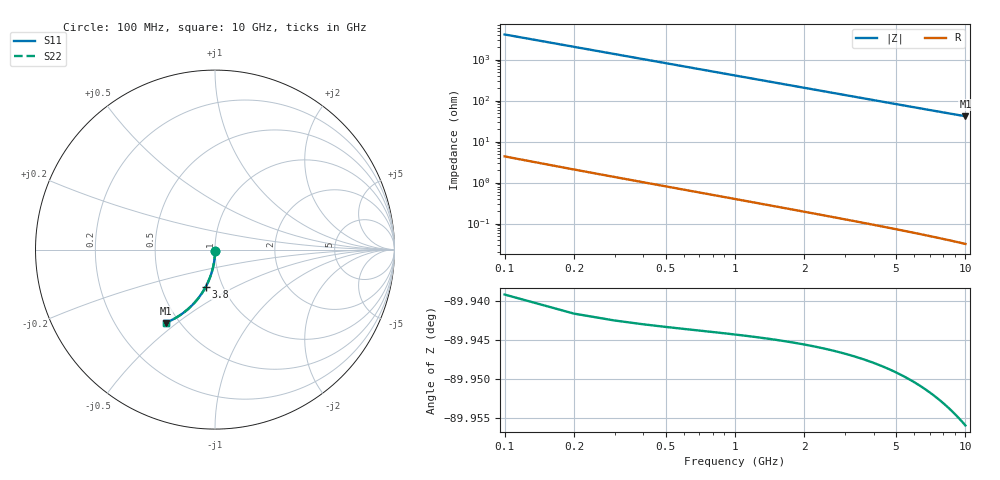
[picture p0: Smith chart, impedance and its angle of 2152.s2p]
# Hz S RI R 50.00
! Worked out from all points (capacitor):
!   100 points, 100 MHz to 10 GHz, reference 50 ohm
!   read as one part in shunt: C = 390 fF near 100 MHz
!   lowest |Z| = 41.4 ohm at 10 GHz (marker M1)
!   S11 on the Smith chart (normalised r, x): 100 MHz: 1.00, -0.01; 3.8 GHz: 0.83, -0.36; 10 GHz: 0.42, -0.46
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1e8  0.000362 -0.00574  0.9996 -0.00651  0.9996 -0.00651  0.000362 -0.00574
2e8  0.000247 -0.0115  0.9994 -0.013  0.9994 -0.013  0.000247 -0.0115
3e8  5.59e-05 -0.0172  0.9992 -0.0195  0.9992 -0.0195  5.59e-05 -0.0172
4e8  -0.00021 -0.0229  0.999 -0.026  0.999 -0.026  -0.00021 -0.0229
5e8  -0.00055 -0.0287  0.9986 -0.0325  0.9986 -0.0325  -0.00055 -0.0287
6e8  -0.000965 -0.0344  0.9982 -0.039  0.9982 -0.039  -0.000965 -0.0344
7e8  -0.00145 -0.0401  0.9977 -0.0455  0.9977 -0.0455  -0.00145 -0.0401
8e8  -0.00202 -0.0458  0.9971 -0.052  0.9971 -0.052  -0.00202 -0.0458
9e8  -0.00265 -0.0515  0.9965 -0.0584  0.9965 -0.0584  -0.00265 -0.0515
1.1e9  -0.00415 -0.0628  0.995 -0.0713  0.995 -0.0713  -0.00415 -0.0628
1.4e9  -0.00693 -0.0797  0.9922 -0.0905  0.9922 -0.0905  -0.00693 -0.0797
1.8e9  -0.0116 -0.102  0.9874 -0.1159  0.9874 -0.1159  -0.0116 -0.102
2.1e9  -0.0159 -0.1184  0.9831 -0.1347  0.9831 -0.1347  -0.0159 -0.1184
2.5e9  -0.0226 -0.14  0.9764 -0.1594  0.9764 -0.1594  -0.0226 -0.14
2.9e9  -0.0302 -0.1611  0.9686 -0.1835  0.9686 -0.1835  -0.0302 -0.1611
3.4e9  -0.0412 -0.1866  0.9575 -0.2129  0.9575 -0.2129  -0.0412 -0.1866
3.8e9  -0.0511 -0.2063  0.9476 -0.2358  0.9476 -0.2358  -0.0511 -0.2063
4.4e9  -0.0675 -0.2346  0.931 -0.2687  0.931 -0.2687  -0.0675 -0.2346
5.1e9  -0.0888 -0.2654  0.9095 -0.3049  0.9095 -0.3049  -0.0888 -0.2654
6.7e9  -0.1445 -0.3262  0.8532 -0.3783  0.8532 -0.3783  -0.1445 -0.3262
8.4e9  -0.2106 -0.3756  0.7863 -0.441  0.7863 -0.441  -0.2106 -0.3756
1e10  -0.2754 -0.4081  0.7206 -0.4862  0.7206 -0.4862  -0.2754 -0.4081
